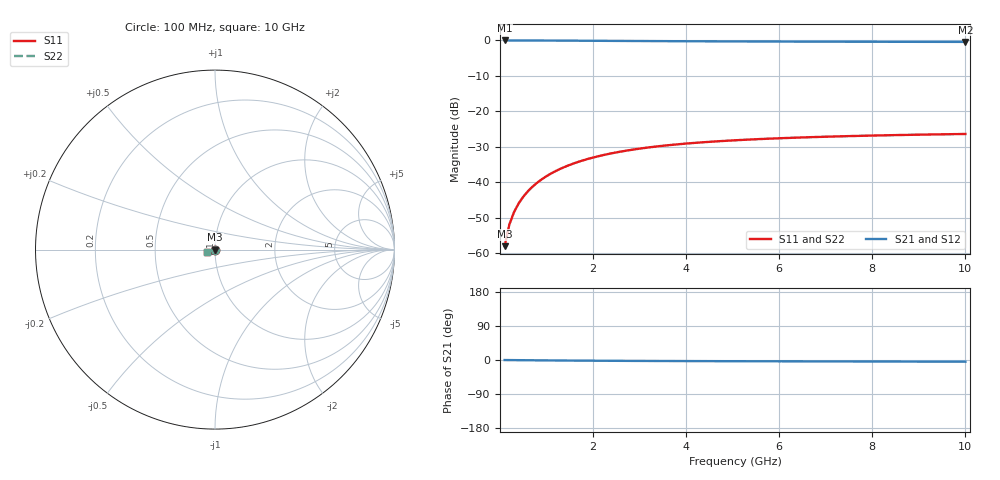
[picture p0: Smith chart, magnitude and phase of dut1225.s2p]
! Touchstone file exported from HFSS 2024.1.0
!  File:  C:/UserFiles/LocalFiles/RDL_TSV_Batchsim/temp_TSV1_1225_1780249845.aedt
!  Generated:  01:56:44 AM Jun  1, 2026
!  Design:  TSV1
!  Project:  temp_TSV1_1225_1780249845
!  Setup:  Setup1
!  Solution:  Sweep
! Variables:
!  dtsv = 11.41um
!  hbump = 3um
!  htsv = 68.76um
!  lrdl = 252.1521522um
!  p = 40
!  p1 = 42.42um
!  t = 500um
!  trdl = 3um
!  wrdl = 24.89489489um
# GHz S MA R 50.000000
! Terminal data exported
! Port[1] = TSV22_T1
! Port[2] = TSV22_T2
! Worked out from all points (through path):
!   100 points, 100 MHz to 10 GHz, reference 50 ohm
!   highest |S21| = 0.00 dB at 100 MHz (marker M1); lowest = -0.4 dB at 10 GHz (marker M2)
!   lowest |S11| = -58.1 dB at 100 MHz (marker M3), VSWR 1.00, Z = 50 - j0.125 ohm
!   |S11| at or under -10 dB: start of sweep to end of sweep
!   |S22| runs from -58.1 to -26.4 dB; largest |S21 - S12| = 4.2e-15
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0.1  0.001248 -86.7  0.9999 -0.1  0.9999 -0.1  0.001248 -86.7
! Gamma 0 0 0 0
! Port Impedance 50 0 50 0
0.2  0.002497 -90.8  0.9998 -0.2  0.9998 -0.2  0.002497 -90.8
0.3  0.003745 -93.1  0.9996 -0.3  0.9996 -0.3  0.003745 -93.1
0.4  0.004987 -95.0  0.9993 -0.4  0.9993 -0.4  0.004987 -95.0
0.5  0.006218 -96.7  0.999 -0.5  0.999 -0.5  0.006218 -96.7
0.6  0.007437 -98.3  0.9987 -0.6  0.9987 -0.6  0.007437 -98.3
0.7  0.00864 -99.9  0.9982 -0.8  0.9982 -0.8  0.00864 -99.9
0.8  0.009827 -101.4  0.9978 -0.9  0.9978 -0.9  0.009827 -101.4
0.9  0.01099 -102.9  0.9972 -0.9  0.9972 -0.9  0.01099 -102.9
1.1  0.01327 -105.8  0.996 -1.1  0.996 -1.1  0.01327 -105.8
1.4  0.0165 -109.9  0.994 -1.4  0.994 -1.4  0.0165 -109.9
1.6  0.01852 -112.5  0.9925 -1.6  0.9925 -1.6  0.01852 -112.5
1.8  0.02044 -115.1  0.991 -1.7  0.991 -1.7  0.02044 -115.1
2.1  0.02311 -118.6  0.9886 -1.9  0.9886 -1.9  0.02311 -118.6
2.5  0.0263 -123.0  0.9854 -2.2  0.9854 -2.2  0.0263 -123.0
2.9  0.02908 -127.0  0.9823 -2.4  0.9823 -2.4  0.02908 -127.0
3.4  0.03206 -131.4  0.9787 -2.6  0.9787 -2.6  0.03206 -131.4
4.2  0.03588 -137.5  0.9735 -2.9  0.9735 -2.9  0.03588 -137.5
5.1  0.03914 -143.0  0.9686 -3.2  0.9686 -3.2  0.03914 -143.0
6.7  0.04318 -150.6  0.9621 -3.6  0.9621 -3.6  0.04318 -150.6
8.4  0.04601 -156.7  0.9574 -4.1  0.9574 -4.1  0.04601 -156.7
10  0.04785 -161.3  0.9542 -4.5  0.9542 -4.5  0.04785 -161.3
